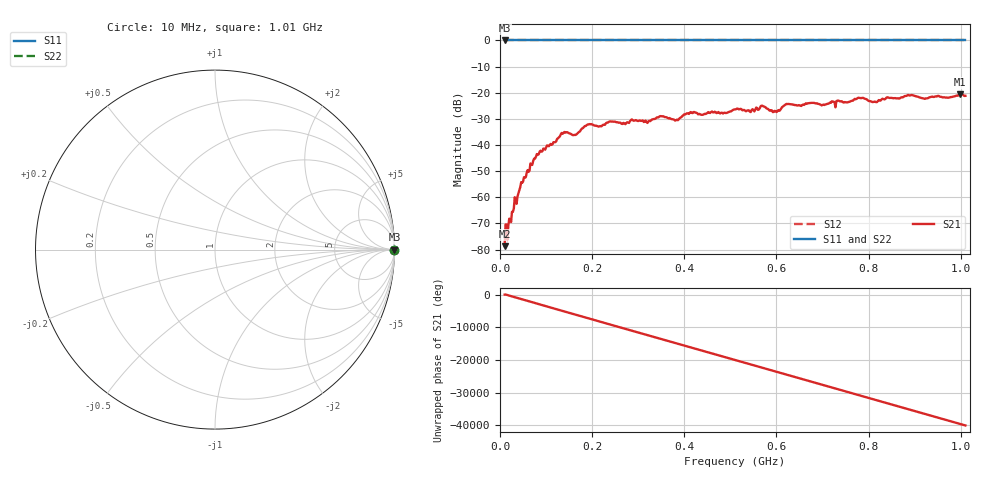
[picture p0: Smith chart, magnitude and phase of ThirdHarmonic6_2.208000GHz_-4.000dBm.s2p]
! 8/17/2025 2:18:24 AM
! C:\ANRITSUVNA\TEMP\TEMP.S2P
! CHANNEL.1
! TR.MEASUREMENT
! RAW.DATA
! RF.CORRECTION.OFF
! AVERAGING.OFF
! IF.BANDWIDTH: 5KHZ
! SWEEPTYPE:  FREQ.SWEEP(Linear)
! Reference Plane Port Info
! PORT:  PORT1  PORT2
! DISTANCE:  0  m  0  m
! TIME:  0  s  0  s
! PHASE.OFFSET:  0  deg.  0  deg.
! LOSS:  0  dB  0  dB
! REF.LOSS:  0  dB  0  dB
! REF.FREQ:  0  Hz  0  Hz
! Power Info
! POWER:  -20  dBm  -20  dBm
! EFF.POWER:  -20  dBm  -20  dBm
! SOURCE.ATTEN:  0  dB  0  dB
! TEST.ATTEN:  0  dB  0  dB
# GHZ S RI R 50.0
! FREQ.GHZ  S11RE  S11IM  S21RE  S21IM  S12RE  S12IM  S22RE  S22IM
!; PortSelection: Port_12
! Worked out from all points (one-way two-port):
!   501 points, 10 MHz to 1.01 GHz, reference 50 ohm
!   highest |S21| = -20.57 dB at 998 MHz (marker M1); lowest = -78.7 dB at 10 MHz (marker M2)
!   lowest |S11| = 0.0 dB at 10 MHz (marker M3)
!   |S11| at or under -10 dB: nowhere
!   |S22| runs from 0.0 to 0.0 dB; largest |S21 - S12| = 1.1
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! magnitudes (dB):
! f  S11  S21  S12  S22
! 10 MHz  0.0  -78.7  0.0  0.0
! 48 MHz  0.0  -54.5  0.0  0.0
! 76 MHz  0.0  -45.2  0.0  0.0
! 136 MHz  0.0  -35.7  0.0  0.0
! 162 MHz  0.0  -36.1  0.0  0.0
! 178 MHz  0.0  -33.7  0.0  0.0
! 194 MHz  0.0  -32.0  0.0  0.0
! 322 MHz  0.0  -31.0  0.0  0.0
! 344 MHz  0.0  -29.4  0.0  0.0
! 384 MHz  0.0  -30.3  0.0  0.0
! 416 MHz  0.0  -27.7  0.0  0.0
! 510 MHz  0.0  -26.4  0.0  0.0
! 548 MHz  0.0  -26.3  0.0  0.0
! 570 MHz  0.0  -25.0  0.0  0.0
! 596 MHz  0.0  -26.9  0.0  0.0
! 622 MHz  0.0  -24.3  0.0  0.0
! 678 MHz  0.0  -23.9  0.0  0.0
! 782 MHz  0.0  -22.1  0.0  0.0
! 814 MHz  0.0  -23.4  0.0  0.0
! 844 MHz  0.0  -21.9  0.0  0.0
! 998 MHz  0.0  -20.6  0.0  0.0
! 1.01 GHz  0.0  -21.2  0.0  0.0
